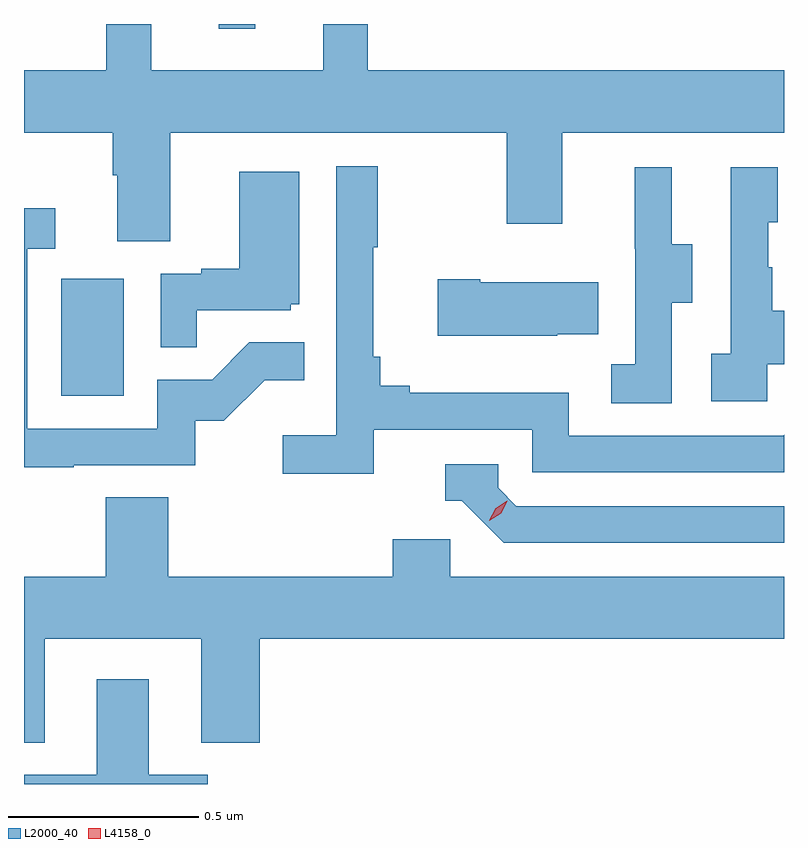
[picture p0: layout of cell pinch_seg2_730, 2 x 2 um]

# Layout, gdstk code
import gdstk
lib = gdstk.Library(unit=1e-6, precision=1e-09)
def R(c, l, rs):  # rectangles x0, y0, x1, y1
    for r in rs: c.add(gdstk.rectangle(r[:2], r[2:], *l))
def P(c, l, *ps):  # polygons
    for p in ps: c.add(gdstk.Polygon(p, *l))
L2000_40 = (2000, 40)
L4158_0 = (4158, 0)

pinch_seg2_730 = lib.new_cell('pinch_seg2_730')
R(pinch_seg2_730, L2000_40, [(1116.812,600.324,1116.976,600.631), (1117.226,601.29,1117.323,601.302)])
P(pinch_seg2_730, L2000_40, [(1117.099,601.016),(1117.984,601.016),(1117.984,600.777),(1118.131,600.777),(1118.131,601.016),(1118.714,601.016),(1118.714,601.18),(1117.619,601.18),(1117.619,601.302),(1117.502,601.302),(1117.502,601.18),(1117.049,601.18),(1117.049,601.302),(1116.931,601.302),(1116.931,601.18),(1116.714,601.18),(1116.714,601.016),(1116.947,601.016),(1116.947,600.904),(1116.959,600.904),(1116.959,600.73),(1117.099,600.73)],
  [(1117.634,600.234),(1118.052,600.234),(1118.052,600.123),(1118.714,600.123),(1118.714,600.221),(1118.712,600.219),(1118.148,600.219),(1118.148,600.331),(1117.729,600.331),(1117.729,600.35),(1117.652,600.35),(1117.652,600.427),(1117.633,600.427),(1117.633,600.715),(1117.645,600.715),(1117.645,600.928),(1117.536,600.928),(1117.536,600.22),(1117.395,600.22),(1117.395,600.118),(1117.634,600.118)],
  [(1118.67,600.407),(1118.714,600.407),(1118.714,600.547),(1118.683,600.547),(1118.683,600.662),(1118.673,600.662),(1118.673,600.78),(1118.698,600.78),(1118.698,600.925),(1118.574,600.925),(1118.574,600.434),(1118.523,600.434),(1118.523,600.309),(1118.67,600.309)],
  [(1118.418,600.568),(1118.473,600.568),(1118.473,600.723),(1118.419,600.723),(1118.419,600.925),(1118.321,600.925),(1118.321,600.711),(1118.322,600.711),(1118.322,600.407),(1118.259,600.407),(1118.259,600.304),(1118.418,600.304)],
  [(1117.169,600.549),(1117.416,600.549),(1117.416,600.564),(1117.438,600.564),(1117.438,600.913),(1117.28,600.913),(1117.28,600.658),(1117.181,600.658),(1117.181,600.645),(1117.074,600.645),(1117.074,600.451),(1117.169,600.451)],
  [(1116.845,600.141),(1117.164,600.141),(1117.164,600.258),(1117.24,600.258),(1117.347,600.365),(1117.451,600.365),(1117.451,600.464),(1117.307,600.464),(1117.209,600.366),(1117.065,600.366),(1117.065,600.237),(1116.723,600.237),(1116.723,600.711),(1116.796,600.711),(1116.796,600.817),(1116.714,600.817),(1116.714,600.136),(1116.845,600.136)],
  [(1118.117,600.485),(1118.225,600.485),(1118.225,600.622),(1117.915,600.622),(1117.915,600.63),(1117.803,600.63),(1117.803,600.482),(1118.117,600.482)],
  [(1118.714,600.033),(1118.01,600.033),(1117.962,600.081),(1117.962,600.144),(1117.823,600.144),(1117.823,600.048),(1117.866,600.048),(1117.977,599.937),(1118.714,599.937)],
  [(1116.769,599.684),(1117.181,599.684),(1117.181,599.411),(1117.334,599.411),(1117.334,599.684),(1118.714,599.684),(1118.714,599.848),(1117.836,599.848),(1117.836,599.946),(1117.685,599.946),(1117.685,599.848),(1117.094,599.848),(1117.094,600.056),(1116.929,600.056),(1116.929,599.848),(1116.714,599.848),(1116.714,599.411),(1116.769,599.411)],
  [(1117.198,599.326),(1117.042,599.326),(1117.042,599.578),(1116.905,599.578),(1116.905,599.326),(1116.714,599.326),(1116.714,599.302),(1117.198,599.302)])
P(pinch_seg2_730, L4158_0, [(1117.938,599.995),(1117.938,599.996),(1117.955,600.028),(1117.986,600.047),(1117.986,600.047),(1117.986,600.046),(1117.97,600.014),(1117.938,599.995)])

lib.write_gds('pinch_seg2_730.gds')
